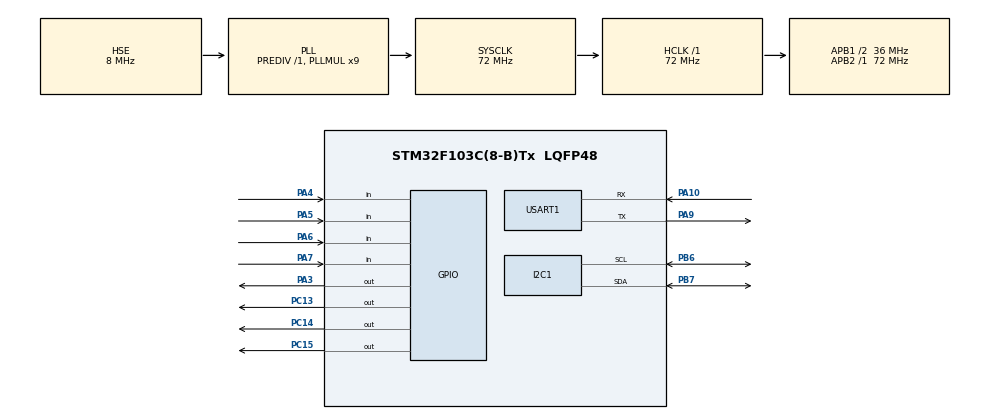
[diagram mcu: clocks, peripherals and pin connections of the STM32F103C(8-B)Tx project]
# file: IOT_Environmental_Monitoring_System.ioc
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Mcu.Family=STM32F1
Mcu.Name=STM32F103C(8-B)Tx
Mcu.Package=LQFP48
NVIC.PriorityGroup=NVIC_PRIORITYGROUP_4
NVIC.USART1_IRQn=true\:0\:0\:false\:false\:true\:true\:true\:true
PA10.Mode=Asynchronous
PA10.Signal=USART1_RX
PA13.Mode=Serial_Wire
PA13.Signal=SYS_JTMS-SWDIO
PA14.Mode=Serial_Wire
PA14.Signal=SYS_JTCK-SWCLK
PA3.GPIO_PuPd=GPIO_PULLUP
PA3.PinState=GPIO_PIN_SET
PA3.Signal=GPIO_Output
PA4.GPIO_PuPd=GPIO_PULLUP
PA4.Signal=GPIO_Input
PA5.GPIO_PuPd=GPIO_PULLUP
PA5.Signal=GPIO_Input
PA6.GPIO_PuPd=GPIO_PULLUP
PA6.Signal=GPIO_Input
PA7.GPIO_PuPd=GPIO_PULLUP
PA7.Signal=GPIO_Input
PA9.Mode=Asynchronous
PA9.Signal=USART1_TX
PB6.Mode=I2C
PB6.Signal=I2C1_SCL
PB7.Mode=I2C
PB7.Signal=I2C1_SDA
PC13-TAMPER-RTC.GPIO_ModeDefaultOutputPP=GPIO_MODE_OUTPUT_PP
PC13-TAMPER-RTC.GPIO_PuPd=GPIO_PULLUP
PC13-TAMPER-RTC.PinState=GPIO_PIN_SET
PC13-TAMPER-RTC.Signal=GPIO_Output
PC14-OSC32_IN.GPIO_PuPd=GPIO_PULLUP
PC14-OSC32_IN.PinState=GPIO_PIN_SET
PC14-OSC32_IN.Signal=GPIO_Output
PC15-OSC32_OUT.GPIO_PuPd=GPIO_PULLUP
PC15-OSC32_OUT.PinState=GPIO_PIN_SET
PC15-OSC32_OUT.Signal=GPIO_Output
PD0-OSC_IN.Mode=HSE-External-Oscillator
PD0-OSC_IN.Signal=RCC_OSC_IN
PD1-OSC_OUT.Mode=HSE-External-Oscillator
PD1-OSC_OUT.Signal=RCC_OSC_OUT
ProjectManager.HeapSize=0x200
ProjectManager.StackSize=0x400
ProjectManager.TargetToolchain=CMake
RCC.AHBFreq_Value=72000000
RCC.APB1CLKDivider=RCC_HCLK_DIV2
RCC.APB1Freq_Value=36000000
RCC.APB1TimFreq_Value=72000000
RCC.APB2Freq_Value=72000000
RCC.APB2TimFreq_Value=72000000
RCC.HCLKFreq_Value=72000000
RCC.PLLMUL=RCC_PLL_MUL9
RCC.PLLSourceVirtual=RCC_PLLSOURCE_HSE
RCC.SYSCLKFreq_VALUE=72000000
RCC.SYSCLKSource=RCC_SYSCLKSOURCE_PLLCLK
RCC.USBFreq_Value=72000000
USART1.VirtualMode=VM_ASYNC
board=custom

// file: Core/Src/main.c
/* USER CODE BEGIN Header */
/**
 ******************************************************************************
 * @file           : main.c
 * @brief          : IOT 环境监测系统 —— 主程序
 ******************************************************************************
 * @attention
 *
 * Copyright (c) 2026 STMicroelectronics.
 * All rights reserved.
 *
 * This software is licensed under terms that can be found in the LICENSE file
 * in the root directory of this software component.
 * If no LICENSE file comes with this software, it is provided AS-IS.
 *
 ******************************************************************************
 *
 *   系统架构
 *   STM32F103C8T6 通过 UART1 外接 ESP8266 WiFi 模块，基于 MQTT 3.1.1 协议
 *   与云端 broker (broker.emqx.io:1883) 通信。每 500ms 采集一次 SHT30 温湿度
 *   传感器数据，发布到主题 stm32/sensor；同时订阅主题 stm32/control 接收
 *   云端 LED_ON / LED_OFF 指令控制板载 LED (PC13)。
 *
 *   数据流
 *   SHT30 ─I2C─> STM32 ─UART1─> ESP8266 ─WiFi─> MQTT Broker ──> 云端
 *   OLED  <──I2C─── STM32 <─UART1── ESP8266 <─WiFi── MQTT Broker <── 云端
 *
 *   外设引脚
 *   PA9  = USART1_TX → ESP8266 RX
 *   PA10 = USART1_RX → ESP8266 TX
 *   PB6  = I2C1_SCL → OLED + SHT30
 *   PB7  = I2C1_SDA → OLED + SHT30
 *   PC13 = 板载 LED（低电平点亮）
 *
 *   通信协议栈
 *   MQTT 3.1.1 (QoS 0)
 *     └── ESP8266 AT 指令固件 v1.2.0.0
 *           └── UART 115200-8N1，中断接收（逐字节）
 *
 *   切换云端服务器
 *   只需修改 main() 中的一行，格式为：
 *   ESP8266_TCPConnect(&esp8266_ctx, "服务器地址", 端口号);
 *
 *   当前配置：broker.emqx.io:1883（EMQX 公共测试服务器，无认证无加密）
 *
 *   常见服务器示例
 *   ├─ EMQX 公共测试    : broker.emqx.io          1883
 *   ├─ HiveMQ 公共测试  : broker.hivemq.com        1883
 *   ├─ 阿里云 IoT 平台  : <ProductKey>.iot-as-mqtt.cn-shanghai.aliyuncs.com  1883
 *   ├─ 华为云 IoTDA     : <DeviceId>.iot-mqtts.cn-north-4.myhuaweicloud.com  1883
 *   ├─ 腾讯云 IoT Hub   : <ProductId>.iotcloud.tencentdevices.com            1883
 *   ├─ 私有部署         : 自建 IP/域名            自定端口
 *   └─ 本地测试         : Mosquitto 等本地 broker  1883
 *
 *   注意事项
 *   ├─ 云平台（阿里/华为/腾讯）通常需要 TLS + 密钥认证，当前 ESP8266 固件
 *   │   v1.2.0.0 不支持 AT+CIPSSL 等 SSL 指令，需升级固件或换方案。
 *   ├─ 换服务器后如 broker 要求用户名密码，需修改 mqtt.c 的 CONNECT 报文。
 *   └─ Client ID（"STM32IoT"）在公共服务器上可能冲突，换服务器建议同步修改。
 *
 * @version 1.1.0
 * @date    2026-05-31
 */
/* USER CODE END Header */
#include "main.h"

/* USER CODE BEGIN Includes */
#include "i2c_bus.h"
#include "oled.h"
#include "sht3x.h"
#include "esp8266.h"
#include "mqtt.h"
#include "stm32f1xx_hal.h"
/* USER CODE END Includes */

I2C_HandleTypeDef hi2c1;

UART_HandleTypeDef huart1;

/* USER CODE BEGIN PV */
static I2C_Bus_Ctx     i2c1_ctx;     /**< I2C 总线上下文 */
static OLED_Ctx        oled_ctx;     /**< SSD1315 OLED 上下文 */
static SHT30_Ctx       sht30_ctx;    /**< SHT30 温湿度传感器上下文 */
static ESP8266_Bus_Ctx esp8266_ctx;  /**< ESP8266 AT 驱动上下文 */
/* USER CODE END PV */

void SystemClock_Config(void);
static void MX_GPIO_Init(void);
static void MX_I2C1_Init(void);
static void MX_USART1_UART_Init(void);

/* USER CODE BEGIN 0 */

/**
 * @brief  在二进制缓冲区中搜索子串（可处理嵌入的 0x00 字节）
 *
 * C 标准库的 strstr() 以 '\0' 作为字符串终止符，无法搜索包含 0x00 字节的
 * 二进制数据。MQTT PUBLISH 报文的话题长度字段含 0x00（如 0x00 0x0D），
 * 因此需要此函数以显式长度进行搜索。
 *
 * @param haystack  待搜索的二进制缓冲区
 * @param hay_len   缓冲区有效字节数
 * @param needle    目标子串（以 '\0' 结尾的 C 字符串）
 * @return          找到返回指向匹配位置的指针，否则返回 NULL
 */
static uint8_t* bin_search(const uint8_t* haystack, uint16_t hay_len,
                           const char* needle)
{
    uint16_t n = strlen(needle);
    if (n > hay_len) return NULL;
    for (uint16_t i = 0; i <= hay_len - n; i++)
    {
        if (memcmp(&haystack[i], needle, n) == 0)
            return (uint8_t*)&haystack[i];
    }
    return NULL;
}

/**
 * @brief  UART 接收中断回调 —— +IPD 实时检测状态机
 *
 * ESP8266 的异步数据到达通知格式为 "\r\n+IPD,<len>:<data>"，其中 <data>
 * 是 <len> 字节的原始 TCP 数据（MQTT 报文），紧随冒号后且不含换行符。
 * 本回调实现了一个逐字符状态机来实时检测并吸收 IPD 数据，避免依赖 '\n'
 * 终止符（因 MQTT 二进制报文通常不含换行）。
 *
 * 状态机转换图（ipd_state 统一管理）
 *
 *   ┌──────────┐   匹配 "+IPD," 逐字符   ┌──────────────┐
 *   │  IDLE    │ ──────────────────────> │  读取长度     │
 *   │ state=0  │  state: 0→1→2→3→4→5  │  state=5     │
 *   └──────────┘ <────────────────────── │ (等冒号)      │
 *        ↑           非预期字符 / 换行    └──────┬───────┘
 *        │                                       │ 收到 ':'
 *        │                                       ▼
 *        │                              ┌──────────────┐
 *        └────────────────────────────── │  吸收数据     │
 *               收满 ipd_expect_len 字节  │  state=6     │
 *                                        └──────────────┘
 *
 * 关键设计决策
 * 1. 逐字符前缀匹配 "+IPD,"，不依赖 strstr()
 * 2. 长度逐数字累加（ipd_expect_len = ipd_expect_len * 10 + digit）
 * 3. ipd_buf[] 与 rx_buf[] 分离，二进制 MQTT 报文不干扰 AT 响应
 * 4. '>' 和 '\n' 都会复位 ipd_state，终止进行中的 IPD 前缀匹配
 *
 * @param huart 触发中断的 UART 句柄
 */
void HAL_UART_RxCpltCallback(UART_HandleTypeDef *huart)
{
    ESP8266_Bus_Ctx *ctx = &esp8266_ctx;
    if (huart != ctx->huart) return;
    uint8_t byte = ctx->rx_temp;

    // IPD 数据吸收模式（ipd_state == 6）
    if (ctx->ipd_state == 6)
    {
        ctx->ipd_buf[ctx->ipd_index++] = byte;
        if (ctx->ipd_index >= ctx->ipd_expect_len)
        {
            ctx->ipd_buf[ctx->ipd_index] = '\0';
            ctx->ipd_state = 0;
            ctx->ipd_index = 0;
            ctx->ipd_ready = 1;
        }
        HAL_UART_Receive_IT(ctx->huart, &ctx->rx_temp, 1);
        return;
    }

    // "+IPD," 前缀匹配 -> 读取长度
    static const char ipd_prefix[] = "+IPD,";

    if (ctx->ipd_state < 5)
    {
        /* 逐字符比对 "+IPD,"（共 5 个字符） */
        if (byte == ipd_prefix[ctx->ipd_state])
        {
            ctx->ipd_state++;
            if (ctx->ipd_state == 5)
                ctx->ipd_expect_len = 0;   // 前缀匹配完毕，准备读取长度数字
        }
        else
        {
            ctx->ipd_state = (byte == '+') ? 1 : 0;  // 失配回退
        }
    }
    else  // ipd_state == 5：已匹配 "+IPD,"，逐数字累加长度
    {
        if (byte >= '0' && byte <= '9')
        {
            ctx->ipd_expect_len = ctx->ipd_expect_len * 10 + (byte - '0');
        }
        else if (byte == ':')
        {
            // 冒号触发数据吸收模式
            ctx->ipd_index = 0;
            ctx->ipd_state = 6;
            ctx->rx_index  = 0;
            HAL_UART_Receive_IT(ctx->huart, &ctx->rx_temp, 1);
            return;
        }
        else
        {
            ctx->ipd_state = 0;  // 非数字非冒号：重置
        }
    }

    // 普通 AT 响应逐行处理
    if (byte == '>')
    {
        // AT+CIPSEND 发送就绪提示符：直接置位，不依赖换行
        ctx->rx_buf[0] = '>'; ctx->rx_buf[1] = '\0';
        ctx->rx_ready    = 1;
        ctx->rx_index    = 0;
        ctx->ipd_state = 0;
    }
    else if (byte == '\n')
    {
        // 换行符：结束当前 AT 响应行，通知等待者
        if (ctx->rx_index > 0 && ctx->rx_buf[ctx->rx_index - 1] == '\r')
            ctx->rx_index--;                     // 去掉行尾 \r
        ctx->rx_buf[ctx->rx_index] = '\0';
        ctx->rx_ready = 1;
        ctx->rx_index = 0;
        ctx->ipd_state = 0;
    }
    else
    {
        // 普通字符：累积到 AT 响应缓冲区
        if (ctx->rx_index < 255)
            ctx->rx_buf[ctx->rx_index++] = byte;
        else
            ctx->rx_index = 0;                   // 缓冲区满则回绕
    }

    HAL_UART_Receive_IT(ctx->huart, &ctx->rx_temp, 1);
}
/* USER CODE END 0 */

int main(void)
{

  /* USER CODE BEGIN 1 */
    uint8_t init_ok = 0;
    float temp = 0, humi = 0;                           // 温度 湿度
    uint8_t temp_threshold = 25, humi_threshold = 60;   // 温度阈值 湿度阈值，范围0 - 255
    static uint32_t last_sensor_tick = 0;               // 用于定时刷新 OLED 和上报
    static uint32_t last_blink_tick = 0;                // 用于 超阈值报警 LED 闪烁
    uint8_t oled_need_refresh = 0;                      // OLED 主动刷新标志位
    static uint32_t last_key_tick = 0;                  // 按键消抖
    static uint32_t last_upload_tick = 0;               // 10秒上报一次

  /* USER CODE END 1 */

  /* MCU Configuration--------------------------------------------------------*/

  /* Reset of all peripherals, Initializes the Flash interface and the Systick. */
  HAL_Init();

  /* Configure the system clock */
  SystemClock_Config();

  /* Initialize all configured peripherals */
  MX_GPIO_Init();
  MX_I2C1_Init();
  MX_USART1_UART_Init();
  /* USER CODE BEGIN 2 */
    I2C_Bus_Init(&i2c1_ctx, &hi2c1);
    OLED_Init(&oled_ctx, &i2c1_ctx);
    SHT30_Init(&sht30_ctx, &i2c1_ctx);

    // 确保 UART 中断接收可正常挂起
    huart1.RxState = HAL_UART_STATE_READY;

    // 初始化 ESP8266 并建立 MQTT 连接
    if (ESP8266_Init(&esp8266_ctx, &huart1))
    {
        if (ESP8266_TCPConnect(&esp8266_ctx, "broker.emqx.io", 1883))
        {
            if (MQTT_Connect(&esp8266_ctx))
            {
                MQTT_Subscribe(&esp8266_ctx);
                init_ok = 1;
            }
            else
                OLED_ShowString(&oled_ctx, 0, 0, "MQTT fail");
        }
        else
            OLED_ShowString(&oled_ctx, 0, 0, "TCP fail");
    }
    else
        OLED_ShowString(&oled_ctx, 0, 0, "ESP fail");

    OLED_Refresh(&oled_ctx);
    HAL_Delay(3000);   // 短暂展示初始化结果

    // 初始化失败时点亮 LED 告警（PC13 低电平有效）
    HAL_GPIO_WritePin(GPIOC, GPIO_PIN_13, init_ok ? GPIO_PIN_SET : GPIO_PIN_RESET);
  /* USER CODE END 2 */

  /* Infinite loop */
  /* USER CODE BEGIN WHILE */
    while (1)
    {
        // 处理云端指令（ipd_ready 由 UART 回调中的 IPD 状态机置位）
        if (esp8266_ctx.ipd_ready == 1)
        {
            uint16_t len = esp8266_ctx.ipd_expect_len;
            esp8266_ctx.ipd_ready = 0;

            // MQTT 报文含 0x00 字节，必须用 bin_search 而非 strstr
            if (bin_search(esp8266_ctx.ipd_buf, len, "LED_ON"))
                HAL_GPIO_WritePin(GPIOC, GPIO_PIN_13, GPIO_PIN_RESET); // 低电平点亮
            else if (bin_search(esp8266_ctx.ipd_buf, len, "LED_OFF"))
                HAL_GPIO_WritePin(GPIOC, GPIO_PIN_13, GPIO_PIN_SET);   // 高电平熄灭
        }

        // 处理按键，100ms轮询一次，兼顾消抖和长按速度
        if (HAL_GetTick() - last_key_tick >= 100)
        {
            last_key_tick = HAL_GetTick();

            if (HAL_GPIO_ReadPin(GPIOA, GPIO_PIN_4) == GPIO_PIN_RESET)
            {
                temp_threshold++;
                oled_need_refresh = 1;
            }
            else if (HAL_GPIO_ReadPin(GPIOA, GPIO_PIN_5) == GPIO_PIN_RESET)
            {
                temp_threshold--;
                oled_need_refresh = 1;
            }
            else if (HAL_GPIO_ReadPin(GPIOA, GPIO_PIN_6) == GPIO_PIN_RESET)
            {
                humi_threshold++;
                oled_need_refresh = 1;
            }
            else if (HAL_GPIO_ReadPin(GPIOA, GPIO_PIN_7) == GPIO_PIN_RESET)
            {
                humi_threshold--;
                oled_need_refresh = 1;
            }
    }

        // 超阈值报警闪烁
        if (temp >= temp_threshold || humi >= humi_threshold)
        {
            if (HAL_GetTick() - last_blink_tick >= 100)
            {
                last_blink_tick = HAL_GetTick();
                HAL_GPIO_TogglePin(GPIOC, GPIO_PIN_14);
            }
        }
        else
        {
            HAL_GPIO_WritePin(GPIOC, GPIO_PIN_14, GPIO_PIN_SET);
            last_blink_tick = HAL_GetTick();
        }

        // 每1秒读取温湿度
        if (HAL_GetTick() - last_sensor_tick >= 1000)
        {
            last_sensor_tick = HAL_GetTick();
            // 读取 SHT30 温湿度传感器（I2C，地址 0x44）
            SHT30_Read(&sht30_ctx, &temp, &humi);
            oled_need_refresh = 1;
        }

        // 刷新 OLED
        if (oled_need_refresh)
        {
            oled_need_refresh = 0;

            // 更新 OLED 显示：系统运行时长
            OLED_Clear(&oled_ctx);
            OLED_ShowString(&oled_ctx, 0, 16, "Second:");
            OLED_ShowNum(&oled_ctx, 60, 16, HAL_GetTick() / 1000, 0);

            // OLED 显示温湿度
            OLED_ShowFloat(&oled_ctx, 0, 32, temp, 2);
            OLED_ShowFloat(&oled_ctx, 0, 48, humi, 2);
            // OLED 显示温湿度阈值
            OLED_ShowString(&oled_ctx, 68, 32, "Max:");
            OLED_ShowNum(&oled_ctx, 104, 32, temp_threshold, 0);
            OLED_ShowString(&oled_ctx, 68, 48, "Max:");
            OLED_ShowNum(&oled_ctx, 104, 48, humi_threshold, 0);

            // OLED_ShowString(&oled_ctx, 0, 0, (char*)esp8266_ctx.rx_buf);

            OLED_Refresh(&oled_ctx);
        }

         // 每10秒上报，温湿度和温湿度阈值
        if (HAL_GetTick() - last_upload_tick >= 10000)
        {
            last_upload_tick = HAL_GetTick();

            if (init_ok)
            {
                MQTT_Publish_Sensor(&esp8266_ctx, temp, humi);
                MQTT_Publish_Threshold(&esp8266_ctx, temp_threshold, humi_threshold);
            }
        }

    /* USER CODE END WHILE */

    }
}

void SystemClock_Config(void)
{
  RCC_OscInitTypeDef RCC_OscInitStruct = {0};
  RCC_ClkInitTypeDef RCC_ClkInitStruct = {0};

  /** Initializes the RCC Oscillators according to the specified parameters
  * in the RCC_OscInitTypeDef structure.
  */
  RCC_OscInitStruct.OscillatorType = RCC_OSCILLATORTYPE_HSE;
  RCC_OscInitStruct.HSEState = RCC_HSE_ON;
  RCC_OscInitStruct.HSEPredivValue = RCC_HSE_PREDIV_DIV1;
  RCC_OscInitStruct.HSIState = RCC_HSI_ON;
  RCC_OscInitStruct.PLL.PLLState = RCC_PLL_ON;
  RCC_OscInitStruct.PLL.PLLSource = RCC_PLLSOURCE_HSE;
  RCC_OscInitStruct.PLL.PLLMUL = RCC_PLL_MUL9;
  if (HAL_RCC_OscConfig(&RCC_OscInitStruct) != HAL_OK)
  {
    Error_Handler();
  }

  /** Initializes the CPU, AHB and APB buses clocks
  */
  RCC_ClkInitStruct.ClockType = RCC_CLOCKTYPE_HCLK|RCC_CLOCKTYPE_SYSCLK
                              |RCC_CLOCKTYPE_PCLK1|RCC_CLOCKTYPE_PCLK2;
  RCC_ClkInitStruct.SYSCLKSource = RCC_SYSCLKSOURCE_PLLCLK;
  RCC_ClkInitStruct.AHBCLKDivider = RCC_SYSCLK_DIV1;
  RCC_ClkInitStruct.APB1CLKDivider = RCC_HCLK_DIV2;
  RCC_ClkInitStruct.APB2CLKDivider = RCC_HCLK_DIV1;

  if (HAL_RCC_ClockConfig(&RCC_ClkInitStruct, FLASH_LATENCY_2) != HAL_OK)
  {
    Error_Handler();
  }
}

static void MX_I2C1_Init(void)
{

  hi2c1.Instance = I2C1;
  hi2c1.Init.ClockSpeed = 100000;
  hi2c1.Init.DutyCycle = I2C_DUTYCYCLE_2;
  hi2c1.Init.OwnAddress1 = 0;
  hi2c1.Init.AddressingMode = I2C_ADDRESSINGMODE_7BIT;
  hi2c1.Init.DualAddressMode = I2C_DUALADDRESS_DISABLE;
  hi2c1.Init.OwnAddress2 = 0;
  hi2c1.Init.GeneralCallMode = I2C_GENERALCALL_DISABLE;
  hi2c1.Init.NoStretchMode = I2C_NOSTRETCH_DISABLE;
  if (HAL_I2C_Init(&hi2c1) != HAL_OK)
  {
    Error_Handler();
  }

}

static void MX_USART1_UART_Init(void)
{

  huart1.Instance = USART1;
  huart1.Init.BaudRate = 115200;
  huart1.Init.WordLength = UART_WORDLENGTH_8B;
  huart1.Init.StopBits = UART_STOPBITS_1;
  huart1.Init.Parity = UART_PARITY_NONE;
  huart1.Init.Mode = UART_MODE_TX_RX;
  huart1.Init.HwFlowCtl = UART_HWCONTROL_NONE;
  huart1.Init.OverSampling = UART_OVERSAMPLING_16;
  if (HAL_UART_Init(&huart1) != HAL_OK)
  {
    Error_Handler();
  }

}

static void MX_GPIO_Init(void)
{
  GPIO_InitTypeDef GPIO_InitStruct = {0};
  /* USER CODE BEGIN MX_GPIO_Init_1 */
    // PC 13 14 15 LED
    // PA 4 5 6 7 按键
  /* USER CODE END MX_GPIO_Init_1 */

  /* GPIO Ports Clock Enable */
  __HAL_RCC_GPIOC_CLK_ENABLE();
  __HAL_RCC_GPIOD_CLK_ENABLE();
  __HAL_RCC_GPIOA_CLK_ENABLE();
  __HAL_RCC_GPIOB_CLK_ENABLE();

  /*Configure GPIO pin Output Level */
  HAL_GPIO_WritePin(GPIOC, GPIO_PIN_13|GPIO_PIN_14|GPIO_PIN_15, GPIO_PIN_SET);

  /*Configure GPIO pin Output Level */
  HAL_GPIO_WritePin(GPIOA, GPIO_PIN_3, GPIO_PIN_SET);

  /*Configure GPIO pins : PC13 PC14 PC15 */
  GPIO_InitStruct.Pin = GPIO_PIN_13|GPIO_PIN_14|GPIO_PIN_15;
  GPIO_InitStruct.Mode = GPIO_MODE_OUTPUT_PP;
  GPIO_InitStruct.Pull = GPIO_PULLUP;
  GPIO_InitStruct.Speed = GPIO_SPEED_FREQ_LOW;
  HAL_GPIO_Init(GPIOC, &GPIO_InitStruct);

  /*Configure GPIO pin : PA3 */
  GPIO_InitStruct.Pin = GPIO_PIN_3;
  GPIO_InitStruct.Mode = GPIO_MODE_OUTPUT_PP;
  GPIO_InitStruct.Pull = GPIO_PULLUP;
  GPIO_InitStruct.Speed = GPIO_SPEED_FREQ_LOW;
  HAL_GPIO_Init(GPIOA, &GPIO_InitStruct);

  /*Configure GPIO pins : PA4 PA5 PA6 PA7 */
  GPIO_InitStruct.Pin = GPIO_PIN_4|GPIO_PIN_5|GPIO_PIN_6|GPIO_PIN_7;
  GPIO_InitStruct.Mode = GPIO_MODE_INPUT;
  GPIO_InitStruct.Pull = GPIO_PULLUP;
  HAL_GPIO_Init(GPIOA, &GPIO_InitStruct);

}

void Error_Handler(void)
{
  __disable_irq();
  while (1)
  {
  }
}
